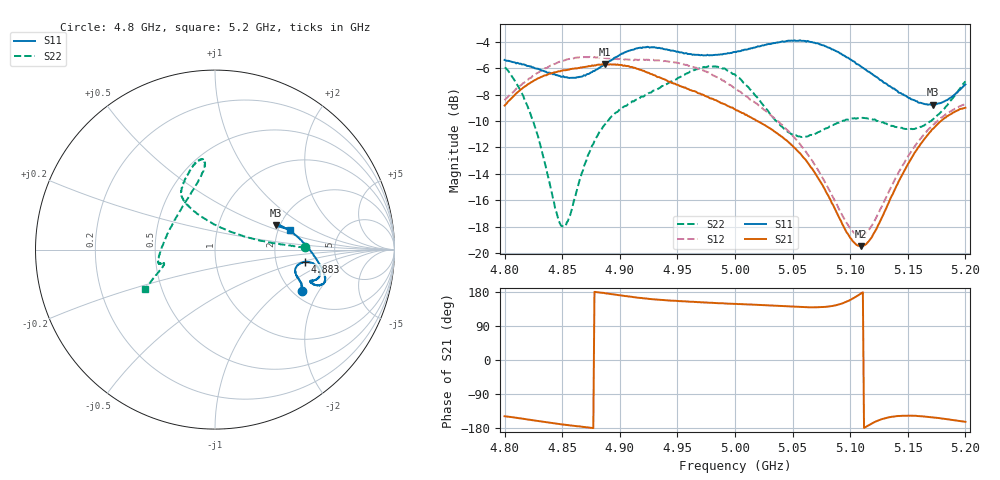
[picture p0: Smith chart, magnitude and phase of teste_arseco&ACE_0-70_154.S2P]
! Network Analyzer HP8722D
! Hewlett-Packard
! Data name: Linha & Wilkinson
! Saver's name: Rodrigo Anjos
! Comments: Teste da utilização de aquisição
! continua pelo VNA HP8722D
! Time and date: 8/5/2025 14:02
!  Frequency  S11  S21  S12  S22
# HZ  S  MA R 50
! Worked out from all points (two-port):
!   401 points, 4.8 GHz to 5.2 GHz, reference 50 ohm
!   highest |S21| = -5.70 dB at 4.887 GHz (marker M1); lowest = -19.5 dB at 5.109 GHz (marker M2)
!   |S21| within 3 dB of the highest: 4.802 GHz to 4.99 GHz (188.3 MHz wide, 3.85 % of centre)
!   lowest |S11| = -8.8 dB at 5.172 GHz (marker M3), VSWR 2.15, Z = 94.9 + j29.8 ohm
!   |S11| at or under -10 dB: nowhere
!   |S22| runs from -18.0 to -5.9 dB; largest |S21 - S12| = 1.1
!   S11 on the Smith chart (normalised r, x): 4.8 GHz: 2.24, -1.45; 4.883 GHz: 2.92, -0.54; 5.2 GHz: 2.33, +0.64
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4.8e9  0.538 -25.4  0.3616 -148.4  0.3788 11.0  0.5034 1.5
4.812e9  0.5226 -22.4  0.4087 -153.3  0.4241 9.1  0.4259 2.7
4.823e9  0.5084 -20.6  0.443 -158.3  0.4605 7.6  0.3309 6.1
4.849e9  0.4649 -16.2  0.4898 -169.6  0.5312 3.4  0.1271 57.3
4.855e9  0.4607 -14.4  0.4941 -171.9  0.5411 2.5  0.1325 84.2
4.867e9  0.4653 -11.0  0.5036 -176.1  0.5506 0.9  0.2009 113.0
4.883e9  0.5041 -7.8  0.5159 177.8  0.548 -0.7  0.2903 122.0
4.887e9  0.519 -7.8  0.519 176.3  0.548 -0.4  0.3066 122.2
4.914e9  0.594 -11.2  0.5002 165.1  0.5396 -0.3  0.3803 119.4
4.934e9  0.5981 -15.4  0.4636 158.8  0.536 -1.1  0.4201 113.7
4.975e9  0.5595 -18.4  0.392 151.6  0.4867 -4.8  0.5054 99.9
5e9  0.5766 -19.1  0.3501 148.0  0.4209 -5.1  0.4742 97.1
5.02e9  0.6058 -19.3  0.3149 145.4  0.3641 -2.0  0.385 104.8
5.045e9  0.6346 -17.3  0.2667 141.7  0.293 3.4  0.2895 132.9
5.067e9  0.6285 -13.4  0.2088 139.1  0.2239 9.6  0.2794 164.1
5.098e9  0.549 -2.9  0.1182 155.4  0.128 36.4  0.3198 -170.3
5.109e9  0.5093 2.2  0.1063 174.8  0.1168 58.0  0.3244 -167.0
5.118e9  0.4789 6.6  0.1138 -168.6  0.1258 75.7  0.3221 -166.1
5.134e9  0.4289 14.2  0.1572 -150.9  0.1724 94.7  0.3061 -165.4
5.154e9  0.381 21.0  0.2318 -147.3  0.2467 101.9  0.2945 -164.2
5.172e9  0.3645 21.9  0.2955 -151.4  0.3059 103.1  0.321 -160.0
5.2e9  0.4348 14.8  0.3549 -163.1  0.3669 103.2  0.4465 -150.5
